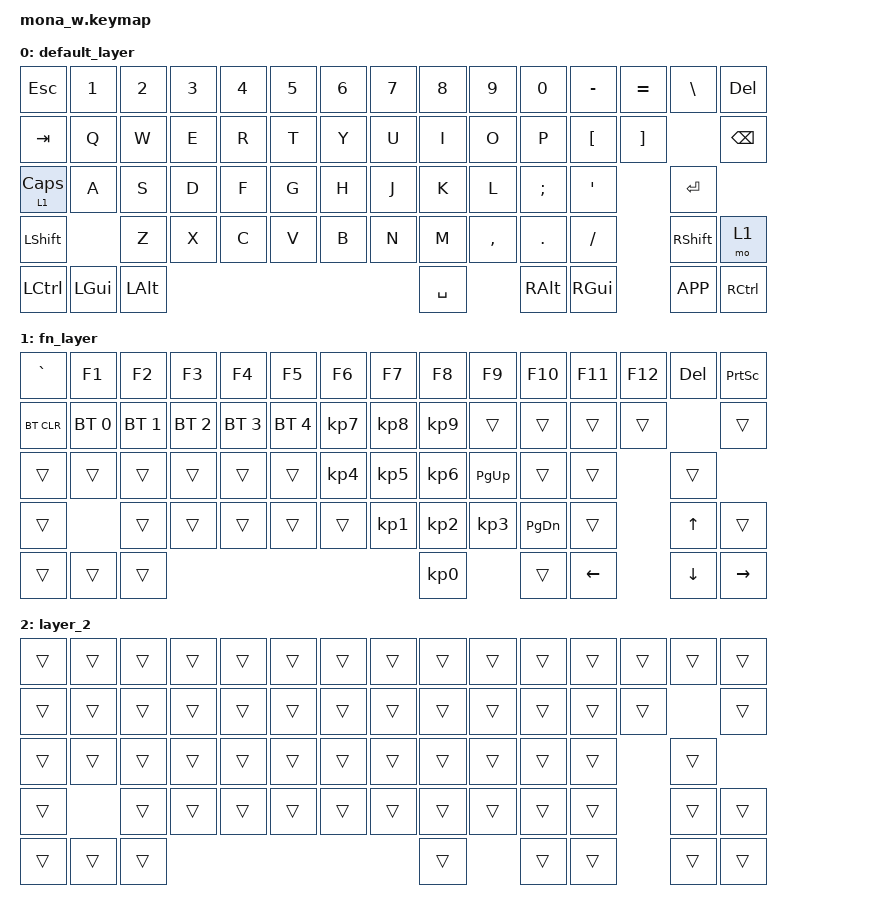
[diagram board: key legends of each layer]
/*
 * Copyright (c) 2023 Ramon Imbao
 *
 * SPDX-License-Identifier: MIT
 */

#include <behaviors.dtsi>
#include <dt-bindings/zmk/bt.h>
#include <dt-bindings/zmk/keys.h>

/ {
    keymap {
        compatible = "zmk,keymap";

        default_layer {
            bindings = <
&kp ESC     &kp N1    &kp N2    &kp N3  &kp N4  &kp N5  &kp N6  &kp N7  &kp N8     &kp N9     &kp N0    &kp MINUS  &kp EQUAL  &kp BSLH   &kp DEL
&kp TAB     &kp Q     &kp W     &kp E   &kp R   &kp T   &kp Y   &kp U   &kp I      &kp O      &kp P     &kp LBKT   &kp RBKT              &kp BACKSPACE
&lt 1 CAPS  &kp A     &kp S     &kp D   &kp F   &kp G   &kp H   &kp J   &kp K      &kp L      &kp SEMI  &kp APOS              &kp ENTER
&kp LSHFT             &kp Z     &kp X   &kp C   &kp V   &kp B   &kp N   &kp M      &kp COMMA  &kp DOT   &kp SLASH             &kp RSHFT  &mo 1
&kp LCTRL   &kp LGUI  &kp LALT                                          &kp SPACE             &kp RALT  &kp RGUI              &kp K_APP  &kp RCTRL
            >;
        };

        fn_layer {
            bindings = <
&kp GRAVE   &kp F1        &kp F2        &kp F3        &kp F4        &kp F5        &kp F6           &kp F7           &kp F8           &kp F9           &kp F10    &kp F11   &kp F12  &kp DELETE  &kp PRINTSCREEN
&bt BT_CLR  &bt BT_SEL 0  &bt BT_SEL 1  &bt BT_SEL 2  &bt BT_SEL 3  &bt BT_SEL 4  &kp KP_NUMBER_7  &kp KP_NUMBER_8  &kp KP_NUMBER_9  &trans           &trans     &trans    &trans               &trans
&trans      &trans        &trans        &trans        &trans        &trans        &kp KP_NUMBER_4  &kp KP_NUMBER_5  &kp KP_NUMBER_6  &kp PG_UP        &trans     &trans             &trans
&trans                    &trans        &trans        &trans        &trans        &trans           &kp KP_NUMBER_1  &kp KP_NUMBER_2  &kp KP_NUMBER_3  &kp PG_DN  &trans             &kp UP      &trans
&trans      &trans        &trans                                                                                    &kp KP_NUMBER_0                   &trans     &kp LEFT           &kp DOWN    &kp RIGHT
            >;
        };

        layer_2 {
            bindings = <
&trans  &trans  &trans  &trans  &trans  &trans  &trans  &trans  &trans  &trans  &trans  &trans  &trans  &trans  &trans
&trans  &trans  &trans  &trans  &trans  &trans  &trans  &trans  &trans  &trans  &trans  &trans  &trans          &trans
&trans  &trans  &trans  &trans  &trans  &trans  &trans  &trans  &trans  &trans  &trans  &trans          &trans
&trans          &trans  &trans  &trans  &trans  &trans  &trans  &trans  &trans  &trans  &trans          &trans  &trans
&trans  &trans  &trans                                          &trans          &trans  &trans          &trans  &trans
            >;
        };
    };
};
